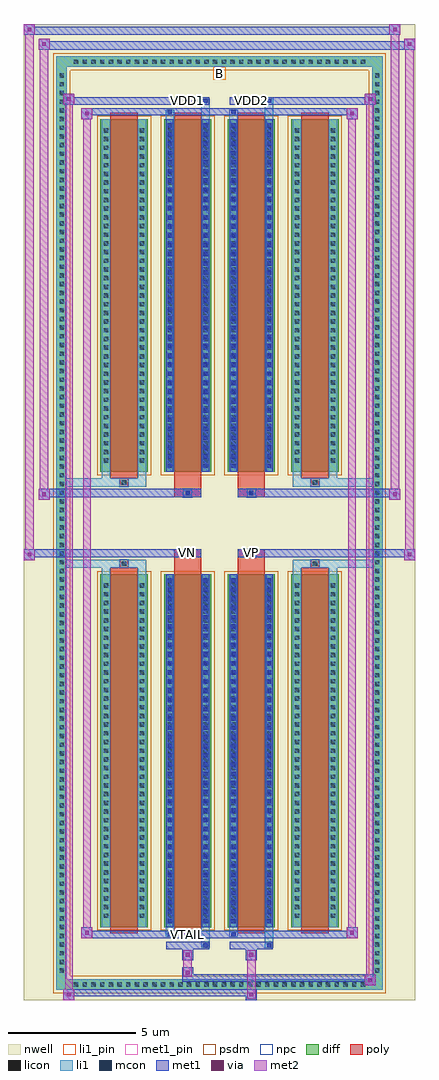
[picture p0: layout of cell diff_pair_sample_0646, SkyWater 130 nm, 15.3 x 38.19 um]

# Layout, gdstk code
import gdstk
lib = gdstk.Library(unit=1e-6, precision=5e-09)
def R(c, l, rs):  # rectangles x0, y0, x1, y1
    for r in rs: c.add(gdstk.rectangle(r[:2], r[2:], *l))
def A(c, l, x, y, w, h, nx, ny, dx, dy):  # array of equal rectangles
    R(c, l, [(x+i*dx, y+j*dy, x+i*dx+w, y+j*dy+h) for i in range(nx) for j in range(ny)])
def P(c, l, *ps):  # polygons
    for p in ps: c.add(gdstk.Polygon(p, *l))
nwell = (64, 20)
diff = (65, 20)
poly = (66, 20)
licon = (66, 44)
li1_pin = (67, 16)
li1 = (67, 20)
mcon = (67, 44)
met1_pin = (68, 16)
met1 = (68, 20)
via = (68, 44)
met2 = (69, 20)
psdm = (94, 20)
npc = (95, 20)

diff_pair_sample_0646 = lib.new_cell('diff_pair_sample_0646')
R(diff_pair_sample_0646, nwell, [(-7.65,-18.66,7.65,19.53), (-4.97,-16.85,-0.01,-0.815), (0.01,-16.85,4.97,-0.815), (-4.97,0.815,-0.01,16.85), (0.01,0.815,4.97,16.85)])
A(diff_pair_sample_0646, diff, -5.815, -18.26, 0.41, 0.41, 34, 2, 0.34, 36.11)
A(diff_pair_sample_0646, diff, -6.38, -17.715, 0.41, 0.41, 1, 104, 0, 0.34)
A(diff_pair_sample_0646, diff, 5.97, -17.715, 0.41, 0.41, 1, 104, 0, 0.34)
A(diff_pair_sample_0646, diff, -4.66, -15.805, 1.85, 13.8, 4, 2, 2.49, 17.81)
R(diff_pair_sample_0646, diff, [(-5.815,-18.26,5.815,-17.85), (-6.38,-17.715,-5.97,17.715), (5.97,-17.715,6.38,17.715), (-5.815,17.85,5.815,18.26)])
P(diff_pair_sample_0646, diff, [(6.38,18.26),(-6.38,18.26),(-6.38,-17.85),(-5.97,-17.85),(-5.97,17.85),(5.97,17.85),(5.97,-17.85),(-5.97,-17.85),(-6.38,-17.85),(-6.38,-18.26),(6.38,-18.26)])
A(diff_pair_sample_0646, poly, -4.27, -16.055, 1.07, 14.3, 4, 2, 2.49, 17.81)
R(diff_pair_sample_0646, poly, [(-3.9,-1.755,-3.57,-1.425), (-3.9,-1.755,-3.57,-1.425), (-1.78,-1.755,-0.71,-1.345), (0.71,-1.755,1.78,-1.345), (3.57,-1.755,3.9,-1.425), (3.57,-1.755,3.9,-1.425), (-1.78,-1.345,-0.71,-1.015), (-1.41,-1.345,-1.08,-1.015), (0.71,-1.345,1.78,-1.015), (1.08,-1.345,1.41,-1.015), (-1.78,1.015,-0.71,1.345), (-1.41,1.015,-1.08,1.345), (0.71,1.015,1.78,1.345), (1.08,1.015,1.41,1.345), (-1.78,1.345,-0.71,1.755), (0.71,1.345,1.78,1.755), (-3.9,1.425,-3.57,1.755), (-3.9,1.425,-3.57,1.755), (3.57,1.425,3.9,1.755), (3.57,1.425,3.9,1.755)])
A(diff_pair_sample_0646, licon, -5.695, -18.14, 0.17, 0.17, 34, 2, 0.34, 36.11)
A(diff_pair_sample_0646, licon, -6.26, -17.595, 0.17, 0.17, 1, 104, 0, 0.34)
A(diff_pair_sample_0646, licon, 6.09, -17.595, 0.17, 0.17, 1, 104, 0, 0.34)
A(diff_pair_sample_0646, licon, -4.52, -15.45, 0.17, 0.17, 1, 39, 0, 0.34)
A(diff_pair_sample_0646, licon, -3.12, -15.45, 0.17, 0.17, 1, 39, 0, 0.34)
A(diff_pair_sample_0646, licon, -2.03, -15.45, 0.17, 0.17, 1, 39, 0, 0.34)
A(diff_pair_sample_0646, licon, -0.63, -15.45, 0.17, 0.17, 1, 39, 0, 0.34)
A(diff_pair_sample_0646, licon, 0.46, -15.45, 0.17, 0.17, 1, 39, 0, 0.34)
A(diff_pair_sample_0646, licon, 1.86, -15.45, 0.17, 0.17, 1, 39, 0, 0.34)
A(diff_pair_sample_0646, licon, 2.95, -15.45, 0.17, 0.17, 1, 39, 0, 0.34)
A(diff_pair_sample_0646, licon, 4.35, -15.45, 0.17, 0.17, 1, 39, 0, 0.34)
A(diff_pair_sample_0646, licon, -4.52, 2.36, 0.17, 0.17, 1, 39, 0, 0.34)
A(diff_pair_sample_0646, licon, -3.12, 2.36, 0.17, 0.17, 1, 39, 0, 0.34)
A(diff_pair_sample_0646, licon, -2.03, 2.36, 0.17, 0.17, 1, 39, 0, 0.34)
A(diff_pair_sample_0646, licon, -0.63, 2.36, 0.17, 0.17, 1, 39, 0, 0.34)
A(diff_pair_sample_0646, licon, 0.46, 2.36, 0.17, 0.17, 1, 39, 0, 0.34)
A(diff_pair_sample_0646, licon, 1.86, 2.36, 0.17, 0.17, 1, 39, 0, 0.34)
A(diff_pair_sample_0646, licon, 2.95, 2.36, 0.17, 0.17, 1, 39, 0, 0.34)
A(diff_pair_sample_0646, licon, 4.35, 2.36, 0.17, 0.17, 1, 39, 0, 0.34)
R(diff_pair_sample_0646, licon, [(-3.82,-1.675,-3.65,-1.505), (3.65,-1.675,3.82,-1.505), (-1.33,-1.265,-1.16,-1.095), (1.16,-1.265,1.33,-1.095), (-1.33,1.095,-1.16,1.265), (1.16,1.095,1.33,1.265), (-3.82,1.505,-3.65,1.675), (3.65,1.505,3.82,1.675)])
R(diff_pair_sample_0646, li1_pin, [(-0.25,17.35,0.25,17.85)])
A(diff_pair_sample_0646, li1, -5.775, -18.22, 0.33, 0.33, 34, 2, 0.34, 36.11)
A(diff_pair_sample_0646, li1, -6.34, -17.675, 0.33, 0.33, 1, 104, 0, 0.34)
A(diff_pair_sample_0646, li1, 6.01, -17.675, 0.33, 0.33, 1, 104, 0, 0.34)
A(diff_pair_sample_0646, li1, -2.03, -15.65, 0.17, 0.17, 1, 38, 0, 0.36)
A(diff_pair_sample_0646, li1, -0.63, -15.65, 0.17, 0.17, 1, 38, 0, 0.36)
A(diff_pair_sample_0646, li1, 0.46, -15.65, 0.17, 0.17, 1, 38, 0, 0.36)
A(diff_pair_sample_0646, li1, 1.86, -15.65, 0.17, 0.17, 1, 38, 0, 0.36)
A(diff_pair_sample_0646, li1, -4.6, -15.53, 0.33, 0.33, 1, 39, 0, 0.34)
A(diff_pair_sample_0646, li1, -3.2, -15.53, 0.33, 0.33, 1, 39, 0, 0.34)
A(diff_pair_sample_0646, li1, -2.11, -15.53, 0.33, 0.33, 1, 39, 0, 0.34)
A(diff_pair_sample_0646, li1, -0.71, -15.53, 0.33, 0.33, 1, 39, 0, 0.34)
A(diff_pair_sample_0646, li1, 0.38, -15.53, 0.33, 0.33, 1, 39, 0, 0.34)
A(diff_pair_sample_0646, li1, 1.78, -15.53, 0.33, 0.33, 1, 39, 0, 0.34)
A(diff_pair_sample_0646, li1, 2.87, -15.53, 0.33, 0.33, 1, 39, 0, 0.34)
A(diff_pair_sample_0646, li1, 4.27, -15.53, 0.33, 0.33, 1, 39, 0, 0.34)
A(diff_pair_sample_0646, li1, -2.03, 2.16, 0.17, 0.17, 1, 38, 0, 0.36)
A(diff_pair_sample_0646, li1, -0.63, 2.16, 0.17, 0.17, 1, 38, 0, 0.36)
A(diff_pair_sample_0646, li1, 0.46, 2.16, 0.17, 0.17, 1, 38, 0, 0.36)
A(diff_pair_sample_0646, li1, 1.86, 2.16, 0.17, 0.17, 1, 38, 0, 0.36)
A(diff_pair_sample_0646, li1, -4.6, 2.28, 0.33, 0.33, 1, 39, 0, 0.34)
A(diff_pair_sample_0646, li1, -3.2, 2.28, 0.33, 0.33, 1, 39, 0, 0.34)
A(diff_pair_sample_0646, li1, -2.11, 2.28, 0.33, 0.33, 1, 39, 0, 0.34)
A(diff_pair_sample_0646, li1, -0.71, 2.28, 0.33, 0.33, 1, 39, 0, 0.34)
A(diff_pair_sample_0646, li1, 0.38, 2.28, 0.33, 0.33, 1, 39, 0, 0.34)
A(diff_pair_sample_0646, li1, 1.78, 2.28, 0.33, 0.33, 1, 39, 0, 0.34)
A(diff_pair_sample_0646, li1, 2.87, 2.28, 0.33, 0.33, 1, 39, 0, 0.34)
A(diff_pair_sample_0646, li1, 4.27, 2.28, 0.33, 0.33, 1, 39, 0, 0.34)
R(diff_pair_sample_0646, li1, [(-6.38,-18.26,-5.97,-17.85), (-6.38,-18.26,-5.97,-17.85), (-5.97,-18.26,5.97,-17.85), (5.97,-18.26,6.38,-17.85), (5.97,-18.26,6.38,-17.85), (-6.38,-17.85,-5.97,17.85), (5.97,-17.85,6.38,17.85), (-0.71,-16.61,-0.38,-15.805), (-0.63,-16.61,-0.46,-16.44), (1.78,-16.61,2.11,-15.805), (1.86,-16.61,2.03,-16.44), (-2.11,-16.18,-1.78,-15.805), (-2.03,-16.18,-1.86,-16.01), (0.38,-16.18,0.71,-15.805), (0.46,-16.18,0.63,-16.01), (-4.6,-15.805,-4.27,-2.005), (-3.2,-15.805,-2.87,-2.005), (-2.11,-15.805,-1.78,-2.005), (-0.71,-15.805,-0.38,-2.005), (0.38,-15.805,0.71,-2.005), (1.78,-15.805,2.11,-2.005), (2.87,-15.805,3.2,-2.005), (4.27,-15.805,4.6,-2.005), (-2.03,-15.65,-1.86,-2.16), (-0.63,-15.65,-0.46,-2.16), (0.46,-15.65,0.63,-2.16), (1.86,-15.65,2.03,-2.16), (-4.6,-2.005,-4.27,-1.425), (-3.2,-2.005,-2.87,-1.425), (2.87,-2.005,3.2,-1.425), (4.27,-2.005,4.6,-1.425), (-6.38,-1.755,-3.9,-1.425), (-4.6,-1.755,-3.9,-1.425), (-3.9,-1.755,-3.57,-1.425), (-3.57,-1.755,-2.87,-1.425), (2.87,-1.755,3.57,-1.425), (3.57,-1.755,3.9,-1.425), (3.57,-1.755,6.38,-1.425), (3.9,-1.755,4.6,-1.425), (-1.41,-1.345,-1.08,-1.015), (1.08,-1.345,1.41,-1.015), (-1.41,1.015,-1.08,1.345), (1.08,1.015,1.41,1.345), (-6.38,1.425,-3.9,1.755), (-4.6,1.425,-3.9,1.755), (-4.6,1.425,-4.27,2.005), (-3.9,1.425,-3.57,1.755), (-3.57,1.425,-2.87,1.755), (-3.2,1.425,-2.87,2.005), (2.87,1.425,3.57,1.755), (2.87,1.425,3.2,2.005), (3.57,1.425,3.9,1.755), (3.57,1.425,6.38,1.755), (3.9,1.425,4.6,1.755), (4.27,1.425,4.6,2.005), (-4.6,2.005,-4.27,15.805), (-3.2,2.005,-2.87,15.805), (-2.11,2.005,-1.78,15.805), (-0.71,2.005,-0.38,15.805), (0.38,2.005,0.71,15.805), (1.78,2.005,2.11,15.805), (2.87,2.005,3.2,15.805), (4.27,2.005,4.6,15.805), (-2.03,2.16,-1.86,15.65), (-0.63,2.16,-0.46,15.65), (0.46,2.16,0.63,15.65), (1.86,2.16,2.03,15.65), (-2.11,15.805,-1.78,16.18), (-0.71,15.805,-0.38,16.61), (0.38,15.805,0.71,16.18), (1.78,15.805,2.11,16.61), (-2.03,16.01,-1.86,16.18), (0.46,16.01,0.63,16.18), (-0.63,16.44,-0.46,16.61), (1.86,16.44,2.03,16.61), (-6.38,17.85,-5.97,18.26), (-6.38,17.85,-5.97,18.26), (-5.97,17.85,5.97,18.26), (5.97,17.85,6.38,18.26), (5.97,17.85,6.38,18.26)])
A(diff_pair_sample_0646, mcon, -2.03, -15.65, 0.17, 0.17, 1, 38, 0, 0.36)
A(diff_pair_sample_0646, mcon, -0.63, -15.65, 0.17, 0.17, 1, 38, 0, 0.36)
A(diff_pair_sample_0646, mcon, 0.46, -15.65, 0.17, 0.17, 1, 38, 0, 0.36)
A(diff_pair_sample_0646, mcon, 1.86, -15.65, 0.17, 0.17, 1, 38, 0, 0.36)
A(diff_pair_sample_0646, mcon, -2.03, 2.16, 0.17, 0.17, 1, 38, 0, 0.36)
A(diff_pair_sample_0646, mcon, -0.63, 2.16, 0.17, 0.17, 1, 38, 0, 0.36)
A(diff_pair_sample_0646, mcon, 0.46, 2.16, 0.17, 0.17, 1, 38, 0, 0.36)
A(diff_pair_sample_0646, mcon, 1.86, 2.16, 0.17, 0.17, 1, 38, 0, 0.36)
R(diff_pair_sample_0646, mcon, [(-0.63,-16.61,-0.46,-16.44), (1.86,-16.61,2.03,-16.44), (-2.03,-16.18,-1.86,-16.01), (0.46,-16.18,0.63,-16.01), (-1.33,-1.265,-1.16,-1.095), (1.16,-1.265,1.33,-1.095), (-1.33,1.095,-1.16,1.265), (1.16,1.095,1.33,1.265), (-2.03,16.01,-1.86,16.18), (0.46,16.01,0.63,16.18), (-0.63,16.44,-0.46,16.61), (1.86,16.44,2.03,16.61)])
R(diff_pair_sample_0646, met1_pin, [(-1.38,-16.22,-1.11,-15.95), (-1.38,-1.285,-1.11,-1.015), (1.11,-1.285,1.38,-1.015), (-1.38,16.4,-1.11,16.67), (1.11,16.4,1.38,16.67)])
A(diff_pair_sample_0646, met1, -2.09, -15.71, 0.29, 0.29, 1, 38, 0, 0.36)
A(diff_pair_sample_0646, met1, -0.69, -15.71, 0.29, 0.29, 1, 38, 0, 0.36)
A(diff_pair_sample_0646, met1, 0.4, -15.71, 0.29, 0.29, 1, 38, 0, 0.36)
A(diff_pair_sample_0646, met1, 1.8, -15.71, 0.29, 0.29, 1, 38, 0, 0.36)
A(diff_pair_sample_0646, met1, -2.09, 2.1, 0.29, 0.29, 1, 38, 0, 0.36)
A(diff_pair_sample_0646, met1, -0.69, 2.1, 0.29, 0.29, 1, 38, 0, 0.36)
A(diff_pair_sample_0646, met1, 0.4, 2.1, 0.29, 0.29, 1, 38, 0, 0.36)
A(diff_pair_sample_0646, met1, 1.8, 2.1, 0.29, 0.29, 1, 38, 0, 0.36)
R(diff_pair_sample_0646, met1, [(-6.11,-18.66,-5.68,-18.23), (1.03,-18.66,1.46,-18.23), (-6.11,-18.52,1.46,-18.23), (5.68,-18.09,6.11,-17.66), (-1.46,-17.95,6.11,-17.66), (-1.46,-17.81,-1.03,-17.38), (-1.46,-17.1,-1.03,-16.67), (1.03,-17.1,1.46,-16.67), (-2.09,-16.67,-0.4,-16.38), (-0.69,-16.67,-0.4,-16.38), (0.4,-16.67,2.09,-16.38), (1.8,-16.67,2.09,-16.38), (-5.4,-16.24,-4.97,-15.81), (-5.4,-16.24,-2.09,-15.95), (-2.09,-16.24,-1.8,-15.95), (-2.09,-16.24,-0.4,-15.95), (-0.4,-16.24,0.4,-15.95), (0.4,-16.24,0.69,-15.95), (0.4,-16.24,2.09,-15.95), (2.09,-16.24,5.4,-15.95), (4.97,-16.24,5.4,-15.81), (-2.09,-15.805,-1.8,-2.005), (-0.69,-15.805,-0.4,-2.005), (0.4,-15.805,0.69,-2.005), (1.8,-15.805,2.09,-2.005), (-7.65,-1.445,-7.22,-1.015), (7.22,-1.445,7.65,-1.015), (-7.65,-1.345,-0.71,-1.015), (-1.78,-1.345,-0.71,-1.015), (0.71,-1.345,1.78,-1.015), (0.71,-1.345,7.65,-1.015), (-1.39,-1.325,-1.1,-1.035), (1.1,-1.325,1.39,-1.035), (-7.08,0.915,-6.65,1.345), (6.65,0.915,7.08,1.345), (-7.08,1.015,-1.78,1.345), (-1.78,1.015,-0.71,1.345), (0.71,1.015,1.78,1.345), (1.78,1.015,7.08,1.345), (-1.39,1.035,-1.1,1.325), (1.1,1.035,1.39,1.325), (-2.09,2.005,-1.8,15.805), (-0.69,2.005,-0.4,15.805), (0.4,2.005,0.69,15.805), (1.8,2.005,2.09,15.805), (-5.4,15.81,-4.97,16.24), (4.97,15.81,5.4,16.24), (-5.4,15.95,-2.09,16.24), (-2.09,15.95,-1.8,16.24), (-2.09,15.95,-0.4,16.24), (-0.4,15.95,0.4,16.24), (0.4,15.95,0.69,16.24), (0.4,15.95,2.09,16.24), (2.09,15.95,5.4,16.24), (-6.11,16.38,-5.68,16.81), (-6.11,16.38,-2.09,16.67), (-2.09,16.38,-0.4,16.67), (-0.69,16.38,-0.4,16.67), (0.4,16.38,2.09,16.67), (1.8,16.38,2.09,16.67), (2.09,16.38,6.11,16.67), (5.68,16.38,6.11,16.81), (-7.08,18.53,-6.65,18.96), (-7.08,18.53,-4.97,18.86), (-4.97,18.53,4.97,18.86), (4.97,18.53,7.65,18.86), (7.22,18.53,7.65,18.96), (-7.65,19.1,-7.22,19.53), (-7.65,19.1,-4.97,19.43), (-4.97,19.1,4.97,19.43), (4.97,19.1,7.08,19.43), (6.65,19.1,7.08,19.53)])
R(diff_pair_sample_0646, via, [(-5.97,-18.52,-5.82,-18.37), (1.17,-18.52,1.32,-18.37), (5.82,-17.95,5.97,-17.8), (-1.32,-17.67,-1.17,-17.52), (-1.32,-16.96,-1.17,-16.81), (1.17,-16.96,1.32,-16.81), (-5.26,-16.1,-5.11,-15.95), (5.11,-16.1,5.26,-15.95), (-7.51,-1.305,-7.36,-1.155), (7.36,-1.305,7.51,-1.155), (-6.94,1.055,-6.79,1.205), (6.79,1.055,6.94,1.205), (-5.26,15.95,-5.11,16.1), (5.11,15.95,5.26,16.1), (-5.97,16.52,-5.82,16.67), (5.82,16.52,5.97,16.67), (-6.94,18.67,-6.79,18.82), (7.36,18.67,7.51,18.82), (-7.51,19.24,-7.36,19.39), (6.79,19.24,6.94,19.39)])
R(diff_pair_sample_0646, met2, [(-6.11,-18.66,-5.68,-18.23), (-6.04,-18.66,-5.75,16.81), (-5.75,-18.66,-5.68,-18.23), (-6.06,-18.61,-5.73,-18.28), (1.08,-18.61,1.41,-18.28), (1.08,-18.28,1.41,-17.05), (5.68,-18.09,6.11,-17.66), (5.75,-18.09,6.04,16.81), (6.04,-18.09,6.11,-17.66), (5.73,-18.04,6.06,-17.71), (-1.41,-17.76,-1.08,-17.43), (-1.41,-17.43,-1.08,-17.05), (-1.41,-17.05,-1.08,-16.72), (1.08,-17.05,1.41,-16.72), (-5.4,-16.24,-4.97,-15.81), (-5.33,-16.24,-5.04,16.24), (-5.04,-16.24,-4.97,-15.81), (4.97,-16.24,5.4,-15.81), (5.04,-16.24,5.33,16.24), (5.33,-16.24,5.4,-15.81), (-5.35,-16.19,-5.02,-15.86), (5.02,-16.19,5.35,-15.86), (-7.65,-1.445,-7.22,-1.015), (-7.6,-1.445,-7.27,19.53), (-7.27,-1.445,-7.22,-1.015), (7.22,-1.445,7.65,-1.015), (7.27,-1.445,7.6,18.96), (7.6,-1.445,7.65,-1.015), (-7.6,-1.395,-7.27,-1.065), (7.27,-1.395,7.6,-1.065), (-7.08,0.915,-6.65,1.345), (-7.03,0.915,-6.7,18.96), (-6.7,0.915,-6.65,1.345), (6.65,0.915,7.08,1.345), (6.7,0.915,7.03,19.53), (7.03,0.915,7.08,1.345), (-7.03,0.965,-6.7,1.295), (6.7,0.965,7.03,1.295), (-5.4,15.81,-4.97,16.24), (-5.04,15.81,-4.97,16.24), (4.97,15.81,5.4,16.24), (5.33,15.81,5.4,16.24), (-5.35,15.86,-5.02,16.19), (5.02,15.86,5.35,16.19), (-6.11,16.38,-5.68,16.81), (-5.75,16.38,-5.68,16.81), (5.68,16.38,6.11,16.81), (6.04,16.38,6.11,16.81), (-6.06,16.43,-5.73,16.76), (5.73,16.43,6.06,16.76), (-7.08,18.53,-6.65,18.96), (-6.7,18.53,-6.65,18.96), (7.22,18.53,7.65,18.96), (7.6,18.53,7.65,18.96), (-7.03,18.58,-6.7,18.91), (7.27,18.58,7.6,18.91), (-7.65,19.1,-7.22,19.53), (-7.27,19.1,-7.22,19.53), (6.65,19.1,7.08,19.53), (7.03,19.1,7.08,19.53), (-7.6,19.15,-7.27,19.48), (6.7,19.15,7.03,19.48)])
A(diff_pair_sample_0646, psdm, -4.79, -15.935, 2.11, 14.06, 4, 2, 2.49, 17.81)
P(diff_pair_sample_0646, psdm, [(6.51,18.39),(-6.51,18.39),(-6.51,-17.72),(-5.84,-17.72),(-5.84,17.72),(5.84,17.72),(5.84,-17.72),(-5.84,-17.72),(-6.51,-17.72),(-6.51,-18.39),(6.51,-18.39)])
R(diff_pair_sample_0646, npc, [(-3.92,-1.775,-3.55,-1.405), (3.55,-1.775,3.92,-1.405), (-1.43,-1.365,-1.06,-0.995), (1.06,-1.365,1.43,-0.995), (-1.43,0.995,-1.06,1.365), (1.06,0.995,1.43,1.365), (-3.92,1.405,-3.55,1.775), (3.55,1.405,3.92,1.775)])
diff_pair_sample_0646.add(gdstk.Label('VTAIL', (-1.245,-16.085), layer=68, texttype=5))
diff_pair_sample_0646.add(gdstk.Label('VN', (-1.245,-1.15), layer=68, texttype=5))
diff_pair_sample_0646.add(gdstk.Label('VP', (1.245,-1.15), layer=68, texttype=5))
diff_pair_sample_0646.add(gdstk.Label('B', (0,17.6), layer=67, texttype=5))
diff_pair_sample_0646.add(gdstk.Label('VDD2', (1.245,16.535), layer=68, texttype=5))
diff_pair_sample_0646.add(gdstk.Label('VDD1', (-1.245,16.535), layer=68, texttype=5))

lib.write_gds('diff_pair_sample_0646.gds')
